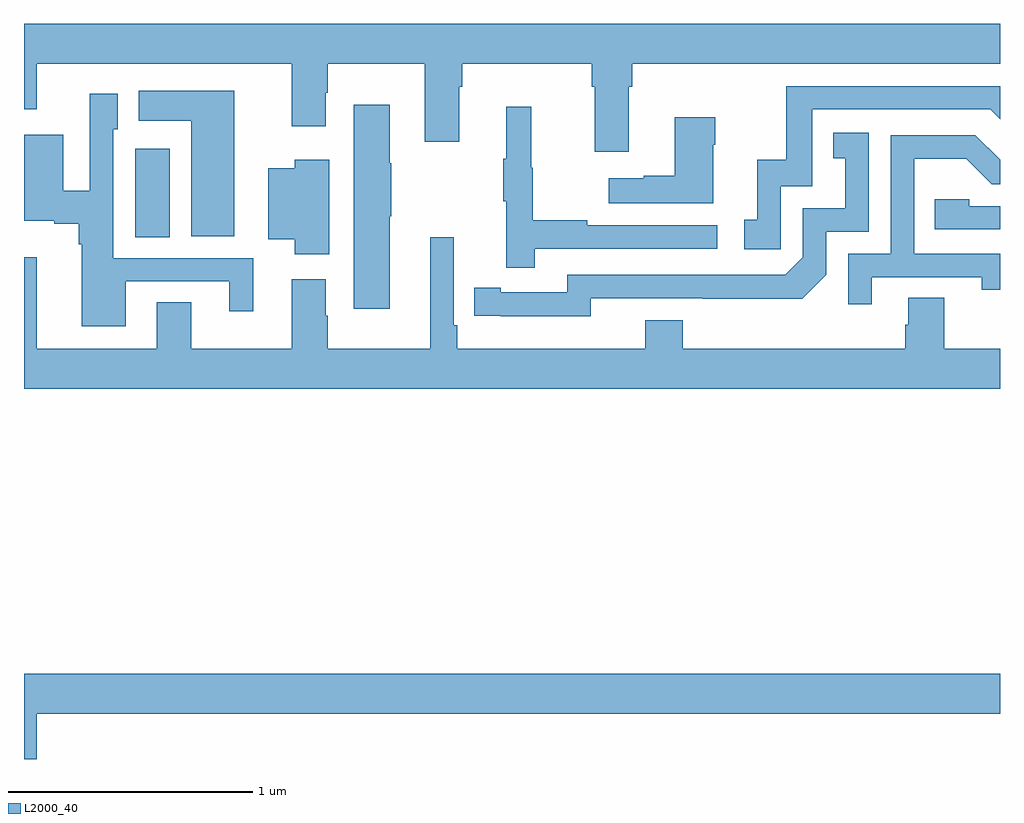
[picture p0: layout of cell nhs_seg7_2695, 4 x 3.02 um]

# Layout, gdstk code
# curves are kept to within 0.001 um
import gdstk
lib = gdstk.Library(unit=1e-6, precision=1e-09)
def R(c, l, rs):  # rectangles x0, y0, x1, y1
    for r in rs: c.add(gdstk.rectangle(r[:2], r[2:], *l))
def P(c, l, *ps):  # polygons
    for p in ps: c.add(gdstk.Polygon(p, *l))
L2000_40 = (2000, 40)

nhs_seg7_2695 = lib.new_cell('nhs_seg7_2695')
R(nhs_seg7_2695, L2000_40, [(285.455,1050.52,285.598,1050.883)])
P(nhs_seg7_2695, L2000_40, [(287.479,1051.136),(287.492,1051.136),(287.492,1051.232),(289,1051.232),(289,1051.396),(285,1051.396),(285,1051.044),(285.052,1051.044),(285.052,1051.232),(286.097,1051.232),(286.097,1050.975),(286.237,1050.975),(286.237,1051.112),(286.245,1051.112),(286.245,1051.232),(286.643,1051.232),(286.643,1050.912),(286.783,1050.912),(286.783,1051.136),(286.796,1051.136),(286.796,1051.232),(287.327,1051.232),(287.327,1051.136),(287.339,1051.136),(287.339,1050.87),(287.479,1050.87)],
  [(288.102,1050.729),(288.231,1050.729),(288.231,1051.044),(288.96,1051.044),(289,1051.004),(289,1051.14),(288.123,1051.14),(288.123,1050.838),(288.005,1050.838),(288.005,1050.591),(287.952,1050.591),(287.952,1050.471),(288.102,1050.471)],
  [(285.862,1051.12),(285.47,1051.12),(285.47,1050.998),(285.686,1050.998),(285.686,1050.524),(285.862,1050.524)],
  [(285.418,1050.339),(285.842,1050.339),(285.842,1050.216),(285.94,1050.216),(285.94,1050.435),(285.366,1050.435),(285.366,1050.963),(285.385,1050.963),(285.385,1051.108),(285.27,1051.108),(285.27,1050.71),(285.16,1050.71),(285.16,1050.94),(285,1050.94),(285,1050.587),(285.123,1050.587),(285.123,1050.575),(285.224,1050.575),(285.224,1050.491),(285.236,1050.491),(285.236,1050.155),(285.418,1050.155)],
  [(286.498,1050.607),(286.506,1050.607),(286.506,1050.824),(286.498,1050.824),(286.498,1051.063),(286.352,1051.063),(286.352,1050.228),(286.498,1050.228)],
  [(287.093,1050.474),(287.842,1050.474),(287.842,1050.57),(287.309,1050.57),(287.309,1050.59),(287.086,1050.59),(287.086,1050.804),(287.078,1050.804),(287.078,1051.054),(286.976,1051.054),(286.976,1050.841),(286.965,1050.841),(286.965,1050.667),(286.976,1050.667),(286.976,1050.396),(287.093,1050.396)],
  [(287.824,1050.899),(287.832,1050.899),(287.832,1051.012),(287.666,1051.012),(287.666,1050.773),(287.54,1050.773),(287.54,1050.763),(287.397,1050.763),(287.397,1050.659),(287.824,1050.659)],
  [(287.322,1050.27),(288.19,1050.269),(288.288,1050.366),(288.288,1050.543),(288.462,1050.543),(288.462,1050.949),(288.316,1050.949),(288.316,1050.843),(288.365,1050.843),(288.365,1050.639),(288.192,1050.639),(288.192,1050.438),(288.12,1050.366),(287.226,1050.366),(287.226,1050.294),(286.954,1050.294),(286.954,1050.314),(286.846,1050.314),(286.846,1050.198),(287.322,1050.197)],
  [(288.475,1050.357),(288.926,1050.357),(288.926,1050.306),(289,1050.306),(289,1050.453),(288.648,1050.453),(288.648,1050.842),(288.862,1050.842),(288.966,1050.738),(289,1050.738),(289,1050.837),(288.898,1050.939),(288.552,1050.939),(288.552,1050.453),(288.378,1050.453),(288.378,1050.246),(288.475,1050.246)],
  [(286.252,1050.838),(286.109,1050.838),(286.109,1050.802),(286.001,1050.802),(286.001,1050.512),(286.109,1050.512),(286.109,1050.45),(286.252,1050.45)],
  [(289,1050.648),(288.873,1050.648),(288.873,1050.675),(288.733,1050.675),(288.733,1050.552),(289,1050.552)],
  [(289,1050.064),(288.771,1050.064),(288.771,1050.272),(288.623,1050.272),(288.623,1050.162),(288.611,1050.162),(288.611,1050.064),(287.699,1050.064),(287.699,1050.181),(287.546,1050.181),(287.546,1050.064),(286.775,1050.064),(286.775,1050.16),(286.761,1050.16),(286.761,1050.52),(286.664,1050.52),(286.664,1050.064),(286.245,1050.064),(286.245,1050.198),(286.237,1050.198),(286.237,1050.349),(286.097,1050.349),(286.097,1050.064),(285.685,1050.064),(285.685,1050.254),(285.545,1050.254),(285.545,1050.064),(285.052,1050.064),(285.052,1050.439),(285,1050.439),(285,1049.9),(289,1049.9)],
  [(285.052,1048.568),(289,1048.568),(289,1048.732),(285,1048.732),(285,1048.38),(285.052,1048.38)])

lib.write_gds('nhs_seg7_2695.gds')
